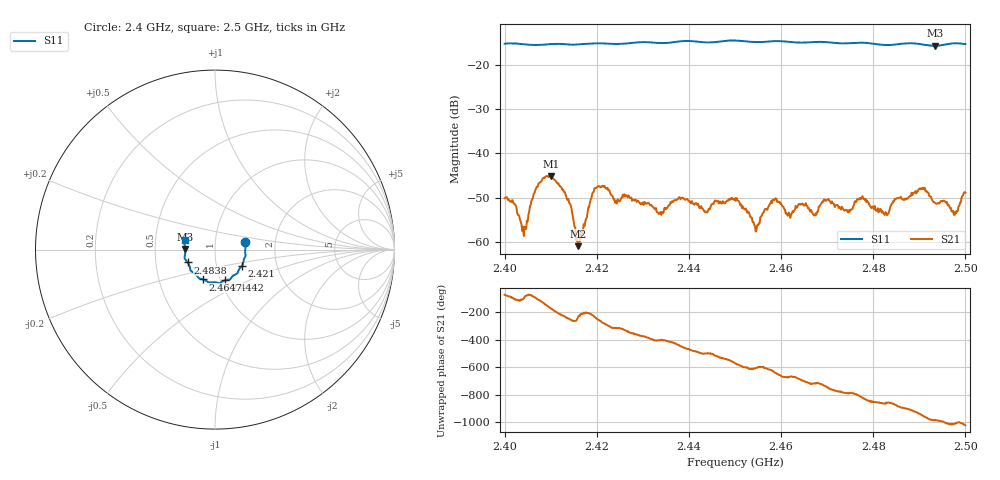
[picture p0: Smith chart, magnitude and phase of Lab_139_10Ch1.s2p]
# Hz S RI R 50
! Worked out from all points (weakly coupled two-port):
!   601 points, 2.4 GHz to 2.5 GHz, reference 50 ohm
!   highest |S21| = -45.09 dB at 2.4102 GHz (marker M1); lowest = -61.0 dB at 2.416 GHz (marker M2)
!   lowest |S11| = -15.7 dB at 2.4935 GHz (marker M3), VSWR 1.39, Z = 35.9 + j0.205 ohm
!   |S11| at or under -10 dB: start of sweep to end of sweep
!   S12 and S22 are empty: the file has one direction only
!   S11 on the Smith chart (normalised r, x): 2.4 GHz: 1.40, +0.12; 2.421 GHz: 1.33, -0.24; 2.4442 GHz: 1.05, -0.37; 2.4647 GHz: 0.83, -0.28; 2.4838 GHz: 0.73, -0.11; 2.5 GHz: 0.71, +0.08
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2.4e9  0.1691 0.0402  0.000827 -0.00301  0 0  0 0
2.404167e9  0.1704 0.0172  -0.00021 -0.00114  0 0  0 0
2.407167e9  0.1684 -0.0116  -0.00128 -0.004  0 0  0 0
2.410167e9  0.1701 -0.0297  -0.00555 -0.000357  0 0  0 0
2.414e9  0.1629 -0.0494  -0.001 0.00258  0 0  0 0
2.416e9  0.1589 -0.063  -0.000554 0.000701  0 0  0 0
2.416667e9  0.158 -0.0683  -0.00107 0.00069  0 0  0 0
2.421e9  0.1516 -0.0889  -3.5e-06 0.00416  0 0  0 0
2.433333e9  0.1087 -0.1399  0.00152 -0.00152  0 0  0 0
2.444167e9  0.057 -0.1707  -0.00167 -0.00153  0 0  0 0
2.45e9  0.0241 -0.1875  -0.00267 0.00159  0 0  0 0
2.454667e9  -0.00428 -0.1816  -0.00061 0.00123  0 0  0 0
2.458333e9  -0.0287 -0.1839  -6.72e-05 0.00302  0 0  0 0
2.464667e9  -0.0671 -0.1661  0.00252 0.001  0 0  0 0
2.466667e9  -0.0813 -0.1619  0.00219 4.81e-05  0 0  0 0
2.4775e9  -0.1352 -0.1172  -0.000498 -0.00313  0 0  0 0
2.483333e9  -0.1495 -0.0763  -0.00149 -0.0015  0 0  0 0
2.483833e9  -0.1524 -0.0718  -0.0019 -0.00174  0 0  0 0
2.490667e9  -0.168 -0.0311  -0.00265 0.00294  0 0  0 0
2.4935e9  -0.1648 0.00278  -0.000396 0.00273  0 0  0 0
2.497833e9  -0.1717 0.0389  0.000595 0.00211  0 0  0 0
2.5e9  -0.1644 0.0519  0.00191 0.00306  0 0  0 0
